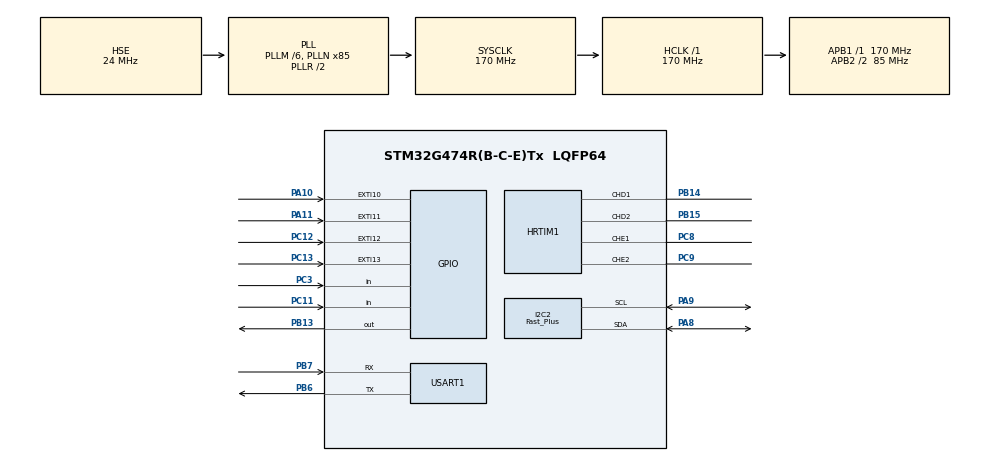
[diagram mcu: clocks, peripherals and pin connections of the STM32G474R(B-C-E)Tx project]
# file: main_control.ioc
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HRTIM1.CompareUnit1-MasterTimer=HRTIM_COMPAREUNIT_1
HRTIM1.CompareUnit1-Output_TD1TD2=HRTIM_COMPAREUNIT_1
HRTIM1.CompareUnit1-Output_TE1TE2=HRTIM_COMPAREUNIT_1
HRTIM1.CompareUnit2-MasterTimer=HRTIM_COMPAREUNIT_2
HRTIM1.CompareValue1-MasterTimer=0
HRTIM1.CompareValue1-Output_TD1TD2=5312
HRTIM1.CompareValue1-Output_TE1TE2=5312
HRTIM1.CompareValue2-MasterTimer=400
HRTIM1.DeadTimeInsertion-Output_TD1TD2=HRTIM_TIMDEADTIMEINSERTION_ENABLED
HRTIM1.DeadTimeInsertion-Output_TE1TE2=HRTIM_TIMDEADTIMEINSERTION_ENABLED
HRTIM1.FallingValue-Output_TD1TD2=170
HRTIM1.FallingValue-Output_TE1TE2=170
HRTIM1.NumberInterruptRequests_Master-MasterTimer=0
HRTIM1.NumberResetSource1-Output_TD1TD2=1
HRTIM1.NumberResetSource1-Output_TE1TE2=1
HRTIM1.NumberSetSource1-Output_TD1TD2=1
HRTIM1.NumberSetSource1-Output_TE1TE2=1
HRTIM1.Periode_MASTER=10625
HRTIM1.Periode_TD=10625
HRTIM1.Periode_TE=10625
HRTIM1.PreloadEnable-MasterTimer=HRTIM_PRELOAD_ENABLED
HRTIM1.PreloadEnable-Output_TD1TD2=HRTIM_PRELOAD_ENABLED
HRTIM1.PreloadEnable-Output_TE1TE2=HRTIM_PRELOAD_ENABLED
HRTIM1.PrescalerDead-Output_TD1TD2=HRTIM_TIMDEADTIME_PRESCALERRATIO_DIV1
HRTIM1.PrescalerDead-Output_TE1TE2=HRTIM_TIMDEADTIME_PRESCALERRATIO_DIV1
HRTIM1.PrescalerRatio_MASTER=HRTIM_PRESCALERRATIO_DIV1
HRTIM1.PrescalerRatio_TD=HRTIM_PRESCALERRATIO_DIV1
HRTIM1.PrescalerRatio_TE=HRTIM_PRESCALERRATIO_DIV1
HRTIM1.RepetitionUpdate-MasterTimer=HRTIM_UPDATEONREPETITION_ENABLED
HRTIM1.RepetitionUpdate-Output_TD1TD2=HRTIM_UPDATEONREPETITION_ENABLED
HRTIM1.RepetitionUpdate-Output_TE1TE2=HRTIM_UPDATEONREPETITION_ENABLED
HRTIM1.ResetOutput1_Source1-Output_TD1TD2=HRTIM_OUTPUTRESET_TIMCMP1
HRTIM1.ResetOutput1_Source1-Output_TE1TE2=HRTIM_OUTPUTRESET_TIMCMP1
HRTIM1.RisingValue-Output_TD1TD2=170
HRTIM1.RisingValue-Output_TE1TE2=170
HRTIM1.SetOutput1_Source1-Output_TD1TD2=HRTIM_OUTPUTSET_MASTERCMP1
HRTIM1.SetOutput1_Source1-Output_TE1TE2=HRTIM_OUTPUTSET_MASTERCMP2
I2C2.I2C_Speed_Mode=I2C_Fast_Plus
I2C2.Timing=0x00802172
Mcu.Family=STM32G4
Mcu.Name=STM32G474R(B-C-E)Tx
Mcu.Package=LQFP64
NVIC.EXTI15_10_IRQn=true\:3\:0\:true\:false\:true\:true\:true\:true
NVIC.HRTIM1_Master_IRQn=true\:0\:0\:false\:false\:true\:true\:true\:true
NVIC.PriorityGroup=NVIC_PRIORITYGROUP_4
NVIC.TIM2_IRQn=true\:0\:0\:false\:false\:true\:true\:true\:true
NVIC.USART1_IRQn=true\:0\:0\:false\:false\:true\:true\:true\:true
PA10.GPIO_ModeDefaultEXTI=GPIO_MODE_IT_FALLING
PA10.GPIO_PuPd=GPIO_PULLUP
PA10.Signal=GPXTI10
PA11.GPIO_ModeDefaultEXTI=GPIO_MODE_IT_FALLING
PA11.GPIO_PuPd=GPIO_PULLUP
PA11.Signal=GPXTI11
PA13.Mode=Serial_Wire
PA13.Signal=SYS_JTMS-SWDIO
PA14.Mode=Serial_Wire
PA14.Signal=SYS_JTCK-SWCLK
PA8.GPIO_Speed=GPIO_SPEED_FREQ_VERY_HIGH
PA8.Mode=I2C
PA8.Signal=I2C2_SDA
PA9.GPIO_Speed=GPIO_SPEED_FREQ_VERY_HIGH
PA9.Mode=I2C
PA9.Signal=I2C2_SCL
PB13.Signal=GPIO_Output
PB14.Mode=Output_TD1TD2
PB14.Signal=HRTIM1_CHD1
PB15.Mode=Output_TD1TD2
PB15.Signal=HRTIM1_CHD2
PB6.Mode=Asynchronous
PB6.Signal=USART1_TX
PB7.Mode=Asynchronous
PB7.Signal=USART1_RX
PC11.GPIO_PuPd=GPIO_PULLDOWN
PC11.Signal=GPIO_Input
PC12.GPIO_ModeDefaultEXTI=GPIO_MODE_IT_FALLING
PC12.GPIO_PuPd=GPIO_PULLUP
PC12.Signal=GPXTI12
PC13.GPIO_ModeDefaultEXTI=GPIO_MODE_IT_FALLING
PC13.GPIO_PuPd=GPIO_PULLUP
PC13.Signal=GPXTI13
PC14-OSC32_IN.Mode=LSE-External-Oscillator
PC14-OSC32_IN.Signal=RCC_OSC32_IN
PC15-OSC32_OUT.Mode=LSE-External-Oscillator
PC15-OSC32_OUT.Signal=RCC_OSC32_OUT
PC3.Signal=GPIO_Input
PC8.Mode=Output_TE1TE2
PC8.Signal=HRTIM1_CHE1
PC9.Mode=Output_TE1TE2
PC9.Signal=HRTIM1_CHE2
PF0-OSC_IN.Mode=HSE-External-Oscillator
PF0-OSC_IN.Signal=RCC_OSC_IN
PF1-OSC_OUT.Mode=HSE-External-Oscillator
PF1-OSC_OUT.Signal=RCC_OSC_OUT
ProjectManager.HeapSize=0x200
ProjectManager.StackSize=0x400
ProjectManager.TargetToolchain=MDK-ARM V5.32
RCC.ADC12Freq_Value=170000000
RCC.ADC345Freq_Value=170000000
RCC.AHBFreq_Value=170000000
RCC.APB1Freq_Value=170000000
RCC.APB1TimFreq_Value=170000000
RCC.APB2CLKDivider=RCC_HCLK_DIV2
RCC.APB2Freq_Value=85000000
RCC.APB2TimFreq_Value=170000000
RCC.CortexFreq_Value=170000000
RCC.EXTERNAL_CLOCK_VALUE=12288000
RCC.HCLKFreq_Value=170000000
RCC.HSE_VALUE=24000000
RCC.HSI48_VALUE=48000000
RCC.HSI_VALUE=16000000
RCC.PLLM=RCC_PLLM_DIV6
RCC.PLLN=85
RCC.PLLSourceVirtual=RCC_PLLSOURCE_HSE
RCC.SYSCLKFreq_VALUE=170000000
RCC.SYSCLKSource=RCC_SYSCLKSOURCE_PLLCLK
RCC.USBFreq_Value=170000000
RCC.VCOOutputFreq_Value=340000000
TIM2.PeriodNoDither=1000
TIM2.Prescaler=170
TIM2.TIM_MasterOutputTrigger=TIM_TRGO_UPDATE
USART1.VirtualMode-Asynchronous=VM_ASYNC
VP_HRTIM1_VS_hrtimMasterTimerNoOutput.Mode=MasterTimer
VP_SYS_VS_DBSignals.Mode=DisableDeadBatterySignals
VP_TIM2_VS_ClockSourceINT.Mode=Internal
board=custom

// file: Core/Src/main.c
/* USER CODE BEGIN Header */
/**
  ******************************************************************************
  * @file           : main.c
  * @brief          : Main program body
  ******************************************************************************
  * @attention
  *
  * Copyright (c) 2024 STMicroelectronics.
  * All rights reserved.
  *
  * This software is licensed under terms that can be found in the LICENSE file
  * in the root directory of this software component.
  * If no LICENSE file comes with this software, it is provided AS-IS.
  *
  ******************************************************************************
  */
/* USER CODE END Header */
#include "main.h"
#include "hrtim.h"
#include "i2c.h"
#include "tim.h"
#include "usart.h"
#include "gpio.h"

/* USER CODE BEGIN Includes */
#include "PWM.h"
#include "PID.h"
#include "OLED.h"
#include "OLED_Data.h"

/* USER CODE END Includes */

/* USER CODE BEGIN PTD */
PID_DUNC m_pid;
union Vol_r
{
  int v;
  char h_val[4];
};
union Cur_r
{
  int i;
  char h_val[4];
};

union Vol_r vol_r;
union Cur_r cur_r;
extern uint8_t RxData;
extern int Serial_RxFlag;
extern uint8_t Serial_RxPacket[8];
HRTIM_CompareCfgTypeDef pCompareCfg;
uint16_t phaseshift2 = 100;
uint16_t Phase = 100;
float current,voltage;
int PWM_START = 1;
int UVP = 0;
int OVP = 0;
int OCP = 0;
int16_t receive = 0;
uint16_t voltage_rev=0;
uint16_t current_rev=0;
uint16_t START_FLAG = 0;
uint32_t SET_FLAG = 1;
extern int rx_flag;
extern uint8_t RX[2];
extern uint8_t rx_cnt;
extern uint16_t phaseshift1;
int flag = 0;
int key1 = 0;
int key2 = 0;
int key3 = 0;
int key4 = 0;
int System_Start = 0;
/* USER CODE END PTD */

void SystemClock_Config(void);

int main(void)
{

  /* MCU Configuration--------------------------------------------------------*/

  /* Reset of all peripherals, Initializes the Flash interface and the Systick. */
  HAL_Init();

  /* Configure the system clock */
  SystemClock_Config();

  /* Initialize all configured peripherals */
  MX_GPIO_Init();
  MX_HRTIM1_Init();
  MX_USART1_UART_Init();
  MX_TIM2_Init();
  MX_I2C2_Init();
  /* USER CODE BEGIN 2 */
	HAL_TIM_Base_Start_IT(&htim2);
	PID_Init(&m_pid);
	PWM_Init();
	OLED_Init();
//	OLED_Clear();
//	OLED_Update();
  //__HAL_UART_ENABLE_IT();
	OLED_Clear();
	OLED_ShowString(0,0, "V_OUT",OLED_8X16);
	OLED_ShowString(0,16, "I_OUT",OLED_8X16);
	OLED_ShowString(0,32, "Charge",OLED_8X16);
	OLED_ShowString(0,48, "SET_I",OLED_8X16);
	OLED_ShowChar(40, 0, ':', OLED_8X16);
  OLED_ShowChar(40, 16, ':', OLED_8X16);
  OLED_ShowChar(48, 32, ':', OLED_8X16);
  OLED_ShowChar(40, 48, ':', OLED_8X16);

  OLED_ShowChar(72 + 8 * 6, 0, 'V', OLED_8X16);
  OLED_ShowChar(72 + 8 * 6, 16, 'A', OLED_8X16);
  OLED_ShowChar(72 + 8 * 6, 48, 'A', OLED_8X16);
	OLED_Update();

	//phaseshift2 = 900;

	HAL_UART_Receive_IT(&huart1, &RxData, 1);

//	while(Serial_GetRxFlag() == 0);
//	HAL_Delay(5000);

	HAL_UART_Transmit(&huart1,"AT+RST\r\n",sizeof("AT+RST\r\n"),0xFFFF);
	//USART2_Printf("AT+RST\r\n");
	HAL_Delay(500);
	HAL_UART_Transmit(&huart1,"AT+CWMODE=2\r\n",sizeof("AT+CWMODE=2\r\n"),0xFFFF);
	//USART2_Printf("AT+CWMODE=2\r\n");
	HAL_Delay(1000);
	HAL_UART_Transmit(&huart1,"AT+RST\r\n",sizeof("AT+RST\r\n"),0xFFFF);
	//USART2_Printf("AT+RST\r\n");
	HAL_Delay(500);
	HAL_UART_Transmit(&huart1,"AT+CWSAP=\"ESP-01S\",\"12345678\",6,4\r\n",sizeof("AT+CWSAP=\"ESP-01S\",\"12345678\",6,4\r\n"),0xFFFF);
	//USART2_Printf("AT+CWSAP=\"ESP-01S\",\"12345678\",6,4\r\n");
	HAL_Delay(500);
	HAL_UART_Transmit(&huart1,"AT+CIPMUX=1\r\n",sizeof("AT+CIPMUX=1\r\n"),0xFFFF);
	//USART2_Printf("AT+CIPMUX=1\r\n");
	HAL_Delay(500);
	HAL_UART_Transmit(&huart1,"AT+CIFSR\r\n",sizeof("AT+CIFSR\r\n"),0xFFFF);
	//USART2_Printf("AT+CIFSR\r\n");
	HAL_Delay(500);
	HAL_UART_Transmit(&huart1,"AT+CIPSERVER=1,8080\r\n",sizeof("AT+CIPSERVER=1,8080\r\n"),0xFFFF);
	//USART2_Printf("AT+CIPSERVER=1,8080\r\n");
	HAL_Delay(500);

	//HAL_UARTEx_ReceiveToIdle_IT(&huart1, RxData, sizeof(RxData));
	//HAL_UARTEx_ReceiveToIdle_IT(&huart1, &RX, 1);

  /* USER CODE END 2 */

  /* Infinite loop */
  while (1)
  {

    /* USER CODE BEGIN 3 */
//    receive++;
//		if(receive==10000)receive=0;

		if(Serial_GetRxFlag() == 1)
		{
			vol_r.h_val[0] = Serial_RxPacket[0];
			vol_r.h_val[1] = Serial_RxPacket[1];
			vol_r.h_val[2] = Serial_RxPacket[2];
			vol_r.h_val[3] = Serial_RxPacket[3];

			cur_r.h_val[0] = Serial_RxPacket[4];
			cur_r.h_val[1] = Serial_RxPacket[5];
			cur_r.h_val[2] = Serial_RxPacket[6];
			cur_r.h_val[3] = Serial_RxPacket[7];

//			voltage = ((float)vol_r.v/8192.0*3.3)*24.376+0.1171;
//			current = ((float)cur_r.i/8192.0*3.3)*5.375-0.0075;

		}
		voltage = ((float)vol_r.v/8190.0*3.3)*24.666+0.4199;
	  current = ((float)cur_r.i/8190.0*3.3)*5.575+0.1186;

		if(HAL_GPIO_ReadPin(GPIOC,GPIO_PIN_3) == RESET)  //升降平台主控输出低表示当前没有车，关闭原边pwm波
		//if(current < 1)
		{
			HAL_Delay(20);
			if(HAL_GPIO_ReadPin(GPIOC,GPIO_PIN_3) == RESET)
			{

				m_pid.SetSpeed = 0.5;
				//PWM_START = 0;
				START_FLAG = 0;
				SET_FLAG = 1;
				System_Start = 0;
				Phase = 0;
				phaseshift1 = 0;
			}
		}
		else if(OVP ==0 && OVP == 0 && System_Start == 1)
		{
			phaseshift1 = 100;
			if(PWM_START ==1)
			{
				Phase = m_pid.OutPut + 100;
			}
			if(PWM_START ==0)
			{
				Phase = 100;
			}
		}

		if(voltage > 65) OVP = 1;
		else OVP = 0;
		if(current > 10.5) OCP = 1;
		else OCP = 0;

     OLED_ShowNum(56, 0, voltage , 3, OLED_8X16);
     OLED_ShowChar(56 + 8 * 3, 0, '.', OLED_8X16);
     OLED_ShowNum(56 + 8 * 4, 0, (uint16_t)((voltage ) * 1000) % 1000, 3, OLED_8X16);

     OLED_ShowNum(56, 16, current , 3, OLED_8X16);
     OLED_ShowChar(56 + 8 * 3, 16, '.', OLED_8X16);
     OLED_ShowNum(56 + 8 * 4, 16, (uint16_t)((current ) * 1000) % 1000, 3, OLED_8X16);

		 OLED_ShowNum(64, 32,(uint16_t)System_Start, 1, OLED_8X16);

		 OLED_ShowNum(56, 48,(uint16_t)m_pid.SetSpeed, 3, OLED_8X16);
		 OLED_ShowChar(56 + 8 * 3, 48, '.', OLED_8X16);
		 OLED_ShowNum(56 + 8 * 4, 48, (uint16_t)((m_pid.SetSpeed ) * 10) % 10, 1, OLED_8X16);
		 OLED_Update();
//
  }
  /* USER CODE END 3 */
}

void SystemClock_Config(void)
{
  RCC_OscInitTypeDef RCC_OscInitStruct = {0};
  RCC_ClkInitTypeDef RCC_ClkInitStruct = {0};

  /** Configure the main internal regulator output voltage
  */
  HAL_PWREx_ControlVoltageScaling(PWR_REGULATOR_VOLTAGE_SCALE1_BOOST);

  /** Initializes the RCC Oscillators according to the specified parameters
  * in the RCC_OscInitTypeDef structure.
  */
  RCC_OscInitStruct.OscillatorType = RCC_OSCILLATORTYPE_HSE;
  RCC_OscInitStruct.HSEState = RCC_HSE_ON;
  RCC_OscInitStruct.PLL.PLLState = RCC_PLL_ON;
  RCC_OscInitStruct.PLL.PLLSource = RCC_PLLSOURCE_HSE;
  RCC_OscInitStruct.PLL.PLLM = RCC_PLLM_DIV6;
  RCC_OscInitStruct.PLL.PLLN = 85;
  RCC_OscInitStruct.PLL.PLLP = RCC_PLLP_DIV2;
  RCC_OscInitStruct.PLL.PLLQ = RCC_PLLQ_DIV2;
  RCC_OscInitStruct.PLL.PLLR = RCC_PLLR_DIV2;
  if (HAL_RCC_OscConfig(&RCC_OscInitStruct) != HAL_OK)
  {
    Error_Handler();
  }

  /** Initializes the CPU, AHB and APB buses clocks
  */
  RCC_ClkInitStruct.ClockType = RCC_CLOCKTYPE_HCLK|RCC_CLOCKTYPE_SYSCLK
                              |RCC_CLOCKTYPE_PCLK1|RCC_CLOCKTYPE_PCLK2;
  RCC_ClkInitStruct.SYSCLKSource = RCC_SYSCLKSOURCE_PLLCLK;
  RCC_ClkInitStruct.AHBCLKDivider = RCC_SYSCLK_DIV1;
  RCC_ClkInitStruct.APB1CLKDivider = RCC_HCLK_DIV1;
  RCC_ClkInitStruct.APB2CLKDivider = RCC_HCLK_DIV2;

  if (HAL_RCC_ClockConfig(&RCC_ClkInitStruct, FLASH_LATENCY_4) != HAL_OK)
  {
    Error_Handler();
  }
}

/* USER CODE BEGIN 4 */
void HAL_TIM_PeriodElapsedCallback(TIM_HandleTypeDef *htim)   //1KHz
{
	if (htim->Instance == TIM2)
	HAL_GPIO_TogglePin(GPIOB, GPIO_PIN_13);

//	if(OVP == 1 || OCP == 1)
//	{
//		Phase = 0;
//		phaseshift1 = 0;
//	}
	if(System_Start == 1)
	{

		phaseshift1 = 100;
		Phase = m_pid.OutPut + 100;

		if(START_FLAG <= 3500) START_FLAG++;
		if(SET_FLAG <= 38001) SET_FLAG++;

	}
	else if(System_Start == 0)
	{
		phaseshift1 = 0;
		Phase = 0;
	}

	if((START_FLAG == 3500)) PWM_START = 1;
	if(((SET_FLAG)%2000 == 0)) m_pid.SetSpeed += 0.5;

	if(OVP == 1 || OCP == 1)
	{
		flag = 1;

	}
	if(flag == 1)
	{
		Phase = 0;
		phaseshift1 = 0;
	}
	else if((HAL_GPIO_ReadPin(GPIOC,GPIO_PIN_3) == SET) && (System_Start == 1))
	{
		phaseshift1 = 100;
		if(PWM_START ==1)
		{
			PID_realize(&m_pid,current);
			Phase = m_pid.OutPut + 100;
		}
		if(PWM_START ==0)
		{
			Phase = 100;
		}

	}

	m_pid.ActualSpeed = current;

//	if(PWM_START == 0)
//	{
//		Phase = 100;
//		phaseshift1 = 100;
//	}
//	else if(PWM_START == 1)
//  {
//		//__HAL_RCC_HRTIM1_CLK_ENABLE();
//		PID_realize(&m_pid,current);
//		Phase = m_pid.OutPut +100 ;
//		//Phase = m_pid.OutPut1+100;
//	}
	pCompareCfg.CompareValue = Phase;
	HAL_HRTIM_WaveformCompareConfig(&hhrtim1 , HRTIM_TIMERINDEX_MASTER , HRTIM_COMPAREUNIT_2 , &pCompareCfg);
	pCompareCfg.CompareValue = Phase+5312;
	HAL_HRTIM_WaveformCompareConfig(&hhrtim1 , HRTIM_TIMERINDEX_TIMER_E , HRTIM_COMPAREUNIT_1 , &pCompareCfg);

	pCompareCfg.CompareValue = phaseshift1;
	HAL_HRTIM_WaveformCompareConfig(&hhrtim1 , HRTIM_TIMERINDEX_MASTER , HRTIM_COMPAREUNIT_1 , &pCompareCfg);
	pCompareCfg.CompareValue = phaseshift1+5312;
	HAL_HRTIM_WaveformCompareConfig(&hhrtim1 , HRTIM_TIMERINDEX_TIMER_D , HRTIM_COMPAREUNIT_1 , &pCompareCfg);

}

void HAL_GPIO_EXTI_Callback(uint16_t GPIO_Pin)
{
	if(GPIO_Pin == GPIO_PIN_10)
	{
		PWM_START = 1;
//		PWM_START++;
//		if(PWM_START == 2) PWM_START = 0;
//		key1++;
	}
	else if(GPIO_Pin == GPIO_PIN_11)
	{
		m_pid.SetSpeed -= 0.2;
		key2++;
	}
	else if(GPIO_Pin == GPIO_PIN_12)
	{
			//m_pid.SetSpeed += 0.5;
		m_pid.SetSpeed += 0.2;
		key3++;
	}
	else if(GPIO_Pin == GPIO_PIN_13)
	{
			//m_pid.SetSpeed += 0.5;
		System_Start = 1;
		key4++;
	}
}

/* USER CODE END 4 */

void Error_Handler(void)
{
  __disable_irq();
  while (1)
  {
  }
}
